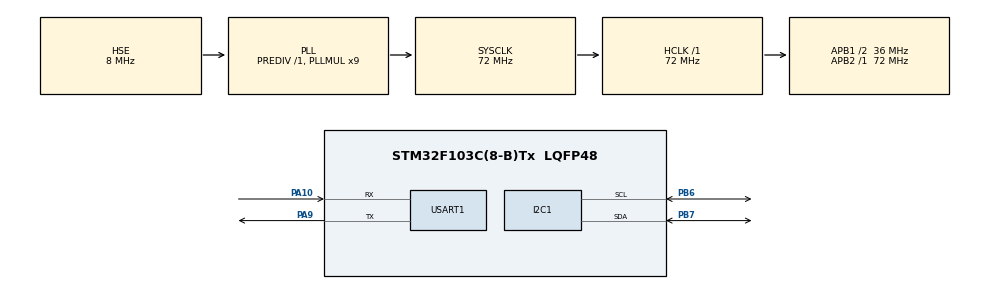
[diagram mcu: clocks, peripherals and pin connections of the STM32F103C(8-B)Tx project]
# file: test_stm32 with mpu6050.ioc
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I2C1.I2C_Mode=I2C_Fast
Mcu.Family=STM32F1
Mcu.Name=STM32F103C(8-B)Tx
Mcu.Package=LQFP48
NVIC.PriorityGroup=NVIC_PRIORITYGROUP_4
PA10.Mode=Asynchronous
PA10.Signal=USART1_RX
PA13.Mode=Serial_Wire
PA13.Signal=SYS_JTMS-SWDIO
PA14.Mode=Serial_Wire
PA14.Signal=SYS_JTCK-SWCLK
PA9.Mode=Asynchronous
PA9.Signal=USART1_TX
PB6.Mode=I2C
PB6.Signal=I2C1_SCL
PB7.Mode=I2C
PB7.Signal=I2C1_SDA
PD0-OSC_IN.Mode=HSE-External-Oscillator
PD0-OSC_IN.Signal=RCC_OSC_IN
PD1-OSC_OUT.Mode=HSE-External-Oscillator
PD1-OSC_OUT.Signal=RCC_OSC_OUT
ProjectManager.HeapSize=0x200
ProjectManager.StackSize=0x400
ProjectManager.TargetToolchain=STM32CubeIDE
RCC.AHBFreq_Value=72000000
RCC.APB1CLKDivider=RCC_HCLK_DIV2
RCC.APB1Freq_Value=36000000
RCC.APB1TimFreq_Value=72000000
RCC.APB2Freq_Value=72000000
RCC.APB2TimFreq_Value=72000000
RCC.HCLKFreq_Value=72000000
RCC.PLLMUL=RCC_PLL_MUL9
RCC.PLLSourceVirtual=RCC_PLLSOURCE_HSE
RCC.SYSCLKFreq_VALUE=72000000
RCC.SYSCLKSource=RCC_SYSCLKSOURCE_PLLCLK
RCC.USBFreq_Value=72000000
USART1.VirtualMode=VM_ASYNC
board=custom

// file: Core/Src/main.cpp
/* USER CODE BEGIN Header */
/**
  ******************************************************************************
  * @file           : main.c
  * @brief          : Main program body
  ******************************************************************************
  * @attention
  *
  * Copyright (c) 2024 STMicroelectronics.
  * All rights reserved.
  *
  * This software is licensed under terms that can be found in the LICENSE file
  * in the root directory of this software component.
  * If no LICENSE file comes with this software, it is provided AS-IS.
  *
  ******************************************************************************
  */
/* USER CODE END Header */
#include "main.h"

/* USER CODE BEGIN Includes */
#include "i2c.h"
#include "mpu6050.h"
#include <cstring>
#include <stdio.h>

//#include "gpio.h"
/* USER CODE END Includes */

//I2C_HandleTypeDef hi2c1;

UART_HandleTypeDef huart1;

void SystemClock_Config(void);
static void MX_GPIO_Init(void);
static void MX_I2C1_Init(void);
static void MX_USART1_UART_Init(void);

/* USER CODE BEGIN 0 */
// Hàm reset mềm MPU6050
void MPU6050_Soft_Reset(void) {
    uint8_t Data = 0x80; // Giá trị reset mềm
    HAL_I2C_Mem_Write(&hi2c1, MPU6050_ADDR, 0x6B, 1, &Data, 1, HAL_MAX_DELAY);
    HAL_Delay(100); // Đợi MPU6050 khởi động lại
}
/* USER CODE END 0 */

int main(void)
{

  /* MCU Configuration--------------------------------------------------------*/

  /* Reset of all peripherals, Initializes the Flash interface and the Systick. */
  HAL_Init();

  /* Configure the system clock */
  SystemClock_Config();

  /* Initialize all configured peripherals */
  MX_GPIO_Init();
  MX_I2C1_Init();
  MX_USART1_UART_Init();
  _i2c.HAL_I2C_MspInit(&hi2c1);
  _i2c.MX_I2C1_Init();
  MPU6050_Soft_Reset();
  /* USER CODE BEGIN 2 */
  MPU6050_t MPU6050;
  //MPU6050_t *data;
  while (_mpu.MPU6050_Init(&hi2c1) == 1);
  char buffer[100];
//  int cnt=0;
//  int cnt2=0;
  /* USER CODE END 2 */

  /* Infinite loop */
  /* USER CODE BEGIN WHILE */
  while (1)
  {
	  _mpu.MPU6050_Read_All(&hi2c1, &MPU6050);
//	  cnt+=1;
//	  cnt2+=1;
	  sprintf(buffer,"Ax= %.2f  Ay:= %.2f  Az:= %.2f  Gx:= %.2f  Gy:= %.2f  Gz:= %.2f  Temperature:= %.2f\n",MPU6050.Ax,MPU6050.Ay,MPU6050.Az,MPU6050.Gx,MPU6050.Gy,MPU6050.Gz,MPU6050.Temperature);
	  HAL_UART_Transmit(&huart1,(uint8_t *) buffer, strlen(buffer), HAL_MAX_DELAY);
	  HAL_Delay (500);
    /* USER CODE END WHILE */

  }
}

void SystemClock_Config(void)
{
  RCC_OscInitTypeDef RCC_OscInitStruct = {0};
  RCC_ClkInitTypeDef RCC_ClkInitStruct = {0};

  /** Initializes the RCC Oscillators according to the specified parameters
  * in the RCC_OscInitTypeDef structure.
  */
  RCC_OscInitStruct.OscillatorType = RCC_OSCILLATORTYPE_HSE;
  RCC_OscInitStruct.HSEState = RCC_HSE_ON;
  RCC_OscInitStruct.HSEPredivValue = RCC_HSE_PREDIV_DIV1;
  RCC_OscInitStruct.HSIState = RCC_HSI_ON;
  RCC_OscInitStruct.PLL.PLLState = RCC_PLL_ON;
  RCC_OscInitStruct.PLL.PLLSource = RCC_PLLSOURCE_HSE;
  RCC_OscInitStruct.PLL.PLLMUL = RCC_PLL_MUL9;
  if (HAL_RCC_OscConfig(&RCC_OscInitStruct) != HAL_OK)
  {
    Error_Handler();
  }

  /** Initializes the CPU, AHB and APB buses clocks
  */
  RCC_ClkInitStruct.ClockType = RCC_CLOCKTYPE_HCLK|RCC_CLOCKTYPE_SYSCLK
                              |RCC_CLOCKTYPE_PCLK1|RCC_CLOCKTYPE_PCLK2;
  RCC_ClkInitStruct.SYSCLKSource = RCC_SYSCLKSOURCE_PLLCLK;
  RCC_ClkInitStruct.AHBCLKDivider = RCC_SYSCLK_DIV1;
  RCC_ClkInitStruct.APB1CLKDivider = RCC_HCLK_DIV2;
  RCC_ClkInitStruct.APB2CLKDivider = RCC_HCLK_DIV1;

  if (HAL_RCC_ClockConfig(&RCC_ClkInitStruct, FLASH_LATENCY_2) != HAL_OK)
  {
    Error_Handler();
  }
}

static void MX_I2C1_Init(void)
{

  hi2c1.Instance = I2C1;
  hi2c1.Init.ClockSpeed = 400000;
  hi2c1.Init.DutyCycle = I2C_DUTYCYCLE_2;
  hi2c1.Init.OwnAddress1 = 0;
  hi2c1.Init.AddressingMode = I2C_ADDRESSINGMODE_7BIT;
  hi2c1.Init.DualAddressMode = I2C_DUALADDRESS_DISABLE;
  hi2c1.Init.OwnAddress2 = 0;
  hi2c1.Init.GeneralCallMode = I2C_GENERALCALL_DISABLE;
  hi2c1.Init.NoStretchMode = I2C_NOSTRETCH_DISABLE;
  if (HAL_I2C_Init(&hi2c1) != HAL_OK)
  {
    Error_Handler();
  }

}

static void MX_USART1_UART_Init(void)
{

  huart1.Instance = USART1;
  huart1.Init.BaudRate = 115200;
  huart1.Init.WordLength = UART_WORDLENGTH_8B;
  huart1.Init.StopBits = UART_STOPBITS_1;
  huart1.Init.Parity = UART_PARITY_NONE;
  huart1.Init.Mode = UART_MODE_TX_RX;
  huart1.Init.HwFlowCtl = UART_HWCONTROL_NONE;
  huart1.Init.OverSampling = UART_OVERSAMPLING_16;
  if (HAL_UART_Init(&huart1) != HAL_OK)
  {
    Error_Handler();
  }

}

static void MX_GPIO_Init(void)
{

  /* GPIO Ports Clock Enable */
  __HAL_RCC_GPIOD_CLK_ENABLE();
  __HAL_RCC_GPIOA_CLK_ENABLE();
  __HAL_RCC_GPIOB_CLK_ENABLE();

}

void Error_Handler(void)
{
  __disable_irq();
  while (1)
  {
  }
}
